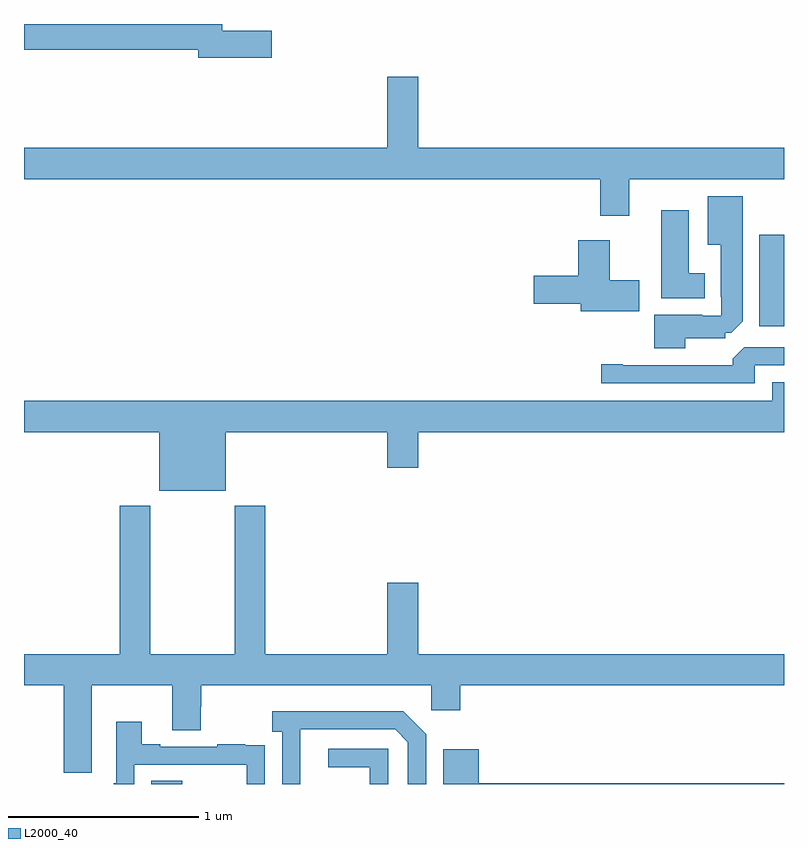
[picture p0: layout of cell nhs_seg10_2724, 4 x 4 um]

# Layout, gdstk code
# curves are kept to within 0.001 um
import gdstk
lib = gdstk.Library(unit=1e-6, precision=1e-09)
def R(c, l, rs):  # rectangles x0, y0, x1, y1
    for r in rs: c.add(gdstk.rectangle(r[:2], r[2:], *l))
def P(c, l, *ps):  # polygons
    for p in ps: c.add(gdstk.Polygon(p, *l))
L2000_40 = (2000, 40)

nhs_seg10_2724 = lib.new_cell('nhs_seg10_2724')
R(nhs_seg10_2724, L2000_40, [(259.67,1262.5,259.834,1262.516), (262.871,1264.91,263,1265.392)])
P(nhs_seg10_2724, L2000_40, [(260.305,1266.464),(260.044,1266.464),(260.044,1266.5),(259,1266.5),(259,1266.364),(259.916,1266.364),(259.916,1266.322),(260.305,1266.322)],
  [(262.186,1265.684),(263,1265.684),(263,1265.848),(261.076,1265.848),(261.076,1266.223),(260.912,1266.223),(260.912,1265.848),(259,1265.848),(259,1265.684),(262.034,1265.684),(262.034,1265.49),(262.186,1265.49)],
  [(262.48,1264.847),(262.692,1264.847),(262.692,1264.875),(262.723,1264.875),(262.783,1264.935),(262.783,1265.593),(262.598,1265.593),(262.598,1265.339),(262.667,1265.339),(262.667,1265.065),(262.671,1265.065),(262.671,1264.965),(262.571,1264.965),(262.571,1264.969),(262.316,1264.969),(262.316,1264.793),(262.48,1264.793)],
  [(262.582,1265.188),(262.498,1265.188),(262.498,1265.521),(262.355,1265.521),(262.355,1265.057),(262.582,1265.057)],
  [(262.237,1265.151),(262.084,1265.151),(262.084,1265.362),(261.916,1265.362),(261.916,1265.174),(261.684,1265.174),(261.684,1265.027),(261.929,1265.027),(261.929,1264.988),(262.237,1264.988)],
  [(262.845,1264.704),(263,1264.704),(263,1264.8),(262.791,1264.8),(262.73,1264.738),(262.73,1264.704),(262.15,1264.704),(262.15,1264.709),(262.038,1264.709),(262.038,1264.608),(262.845,1264.608)],
  [(260.062,1264.352),(260.912,1264.352),(260.912,1264.164),(261.076,1264.164),(261.076,1264.352),(263,1264.352),(263,1264.615),(262.937,1264.615),(262.937,1264.516),(259,1264.516),(259,1264.352),(259.712,1264.352),(259.712,1264.043),(260.062,1264.043)],
  [(259.357,1263.02),(259.781,1263.02),(259.781,1262.782),(259.929,1262.782),(259.929,1262.907),(259.934,1262.907),(259.934,1263.02),(261.144,1263.02),(261.144,1262.889),(261.296,1262.889),(261.296,1263.02),(263,1263.02),(263,1263.184),(261.076,1263.184),(261.076,1263.559),(260.912,1263.559),(260.912,1263.184),(260.27,1263.184),(260.27,1263.964),(260.11,1263.964),(260.11,1263.184),(259.665,1263.184),(259.665,1263.964),(259.505,1263.964),(259.505,1263.184),(259,1263.184),(259,1263.02),(259.21,1263.02),(259.21,1262.559),(259.357,1262.559)],
  [(260.454,1262.587),(260.455,1262.787),(260.955,1262.787),(261.021,1262.721),(261.021,1262.5),(261.117,1262.5),(261.117,1262.763),(260.996,1262.884),(260.307,1262.884),(260.307,1262.774),(260.358,1262.774),(260.358,1262.5),(260.454,1262.5)],
  [(259.581,1262.601),(260.172,1262.601),(260.172,1262.5),(260.268,1262.5),(260.268,1262.594),(260.267,1262.594),(260.267,1262.703),(260.165,1262.703),(260.165,1262.71),(260.017,1262.71),(260.017,1262.697),(259.717,1262.697),(259.717,1262.71),(259.621,1262.71),(259.621,1262.827),(259.485,1262.827),(259.485,1262.504),(259.473,1262.504),(259.473,1262.5),(259.581,1262.5)],
  [(260.916,1262.685),(260.601,1262.685),(260.601,1262.589),(260.82,1262.589),(260.82,1262.5),(260.916,1262.5)],
  [(263,1262.504),(261.393,1262.504),(261.393,1262.683),(261.206,1262.683),(261.206,1262.5),(263,1262.5)])

lib.write_gds('nhs_seg10_2724.gds')
